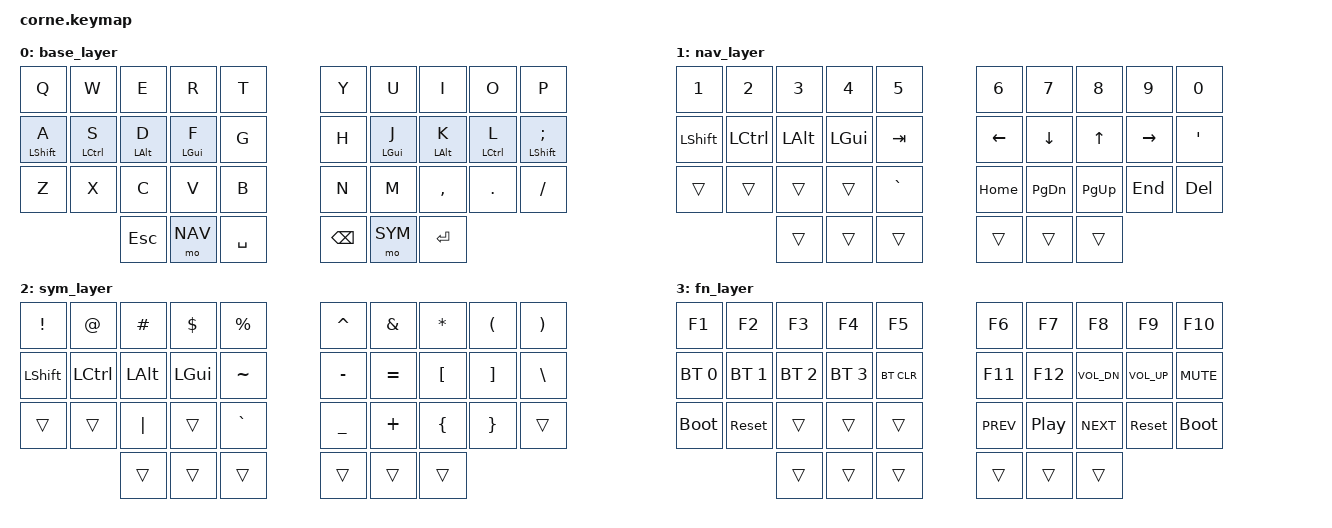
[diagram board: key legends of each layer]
#include <behaviors.dtsi>
#include <dt-bindings/zmk/keys.h>
#include <dt-bindings/zmk/bt.h>

#define BASE 0
#define NAV  1
#define SYM  2
#define FN   3

/ {
    chosen {
        zmk,physical-layout = &foostan_corne_5col_layout;
    };

    behaviors {
        hml: home_row_mod_left {
            compatible = "zmk,behavior-hold-tap";
            #binding-cells = <2>;
            flavor = "balanced";
            tapping-term-ms = <280>;
            quick-tap-ms = <175>;
            require-prior-idle-ms = <150>;
            bindings = <&kp>, <&kp>;
            hold-trigger-key-positions = <5 6 7 8 9 15 16 17 18 19 25 26 27 28 29 33 34 35>;
            hold-trigger-on-release;
        };

        hmr: home_row_mod_right {
            compatible = "zmk,behavior-hold-tap";
            #binding-cells = <2>;
            flavor = "balanced";
            tapping-term-ms = <280>;
            quick-tap-ms = <175>;
            require-prior-idle-ms = <150>;
            bindings = <&kp>, <&kp>;
            hold-trigger-key-positions = <0 1 2 3 4 10 11 12 13 14 20 21 22 23 24 30 31 32>;
            hold-trigger-on-release;
        };
    };

    conditional_layers {
        compatible = "zmk,conditional-layers";
        tri_layer {
            if-layers = <NAV SYM>;
            then-layer = <FN>;
        };
    };

    keymap {
        compatible = "zmk,keymap";

        base_layer {
            bindings = <
&kp Q       &kp W       &kp E       &kp R       &kp T           &kp Y       &kp U       &kp I       &kp O       &kp P
&hml LSHFT A &hml LCTRL S &hml LALT D &hml LGUI F &kp G          &kp H       &hmr LGUI J &hmr LALT K &hmr LCTRL L &hmr LSHFT SEMI
&kp Z       &kp X       &kp C       &kp V       &kp B           &kp N       &kp M       &kp COMMA   &kp DOT     &kp FSLH
                        &kp ESC     &mo NAV     &kp SPACE       &kp BSPC    &mo SYM     &kp RET
            >;
        };

        nav_layer {
            bindings = <
&kp N1      &kp N2      &kp N3      &kp N4      &kp N5          &kp N6      &kp N7      &kp N8      &kp N9      &kp N0
&kp LSHFT   &kp LCTRL   &kp LALT    &kp LGUI    &kp TAB         &kp LEFT    &kp DOWN    &kp UP      &kp RIGHT   &kp SQT
&trans      &trans      &trans      &trans      &kp GRAVE       &kp HOME    &kp PG_DN   &kp PG_UP   &kp END     &kp DEL
                        &trans      &trans      &trans          &trans      &trans      &trans
            >;
        };

        sym_layer {
            bindings = <
&kp EXCL    &kp AT      &kp HASH    &kp DLLR    &kp PRCNT       &kp CARET   &kp AMPS    &kp ASTRK   &kp LPAR    &kp RPAR
&kp LSHFT   &kp LCTRL   &kp LALT    &kp LGUI    &kp TILDE       &kp MINUS   &kp EQUAL   &kp LBKT    &kp RBKT    &kp BSLH
&trans      &trans      &kp PIPE    &trans      &kp GRAVE       &kp UNDER   &kp PLUS    &kp LBRC    &kp RBRC    &trans
                        &trans      &trans      &trans          &trans      &trans      &trans
            >;
        };

        fn_layer {
            bindings = <
&kp F1      &kp F2      &kp F3      &kp F4      &kp F5          &kp F6      &kp F7      &kp F8      &kp F9      &kp F10
&bt BT_SEL 0 &bt BT_SEL 1 &bt BT_SEL 2 &bt BT_SEL 3 &bt BT_CLR   &kp F11     &kp F12     &kp C_VOL_DN &kp C_VOL_UP &kp C_MUTE
&bootloader &sys_reset  &trans      &trans      &trans          &kp C_PREV  &kp C_PP    &kp C_NEXT  &sys_reset  &bootloader
                        &trans      &trans      &trans          &trans      &trans      &trans
            >;
        };
    };
};
